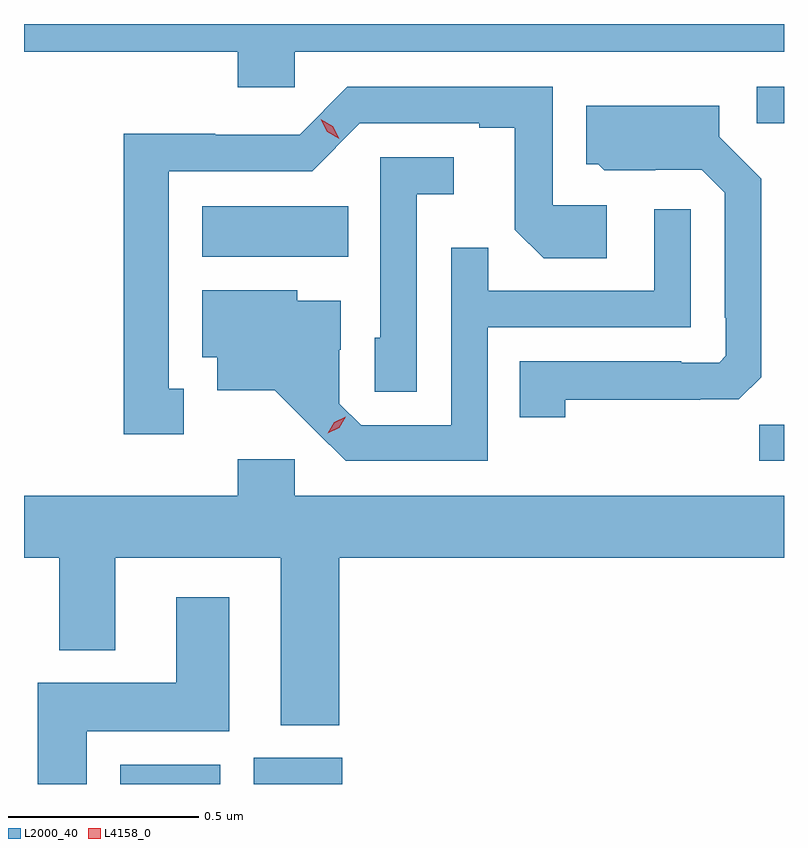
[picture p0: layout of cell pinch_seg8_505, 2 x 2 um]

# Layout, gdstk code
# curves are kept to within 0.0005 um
import gdstk
lib = gdstk.Library(unit=1e-6, precision=1e-09)
def R(c, l, rs):  # rectangles x0, y0, x1, y1
    for r in rs: c.add(gdstk.rectangle(r[:2], r[2:], *l))
def P(c, l, *ps):  # polygons
    for p in ps: c.add(gdstk.Polygon(p, *l))
L2000_40 = (2000, 40)
L4158_0 = (4158, 0)

pinch_seg8_505 = lib.new_cell('pinch_seg8_505')
R(pinch_seg8_505, L2000_40, [(219.962,1131.889,220.225,1131.94), (220.313,1131.889,220.546,1131.958), (221.644,1132.74,221.709,1132.835), (220.178,1133.276,220.562,1133.41), (221.637,1133.628,221.709,1133.724)])
P(pinch_seg8_505, L2000_40, [(220.422,1133.816),(221.709,1133.816),(221.709,1133.889),(219.709,1133.889),(219.709,1133.816),(220.271,1133.816),(220.271,1133.723),(220.422,1133.723)],
  [(220.129,1132.929),(220.09,1132.929),(220.09,1133.502),(220.467,1133.502),(220.593,1133.628),(220.907,1133.628),(220.907,1133.616),(221.001,1133.616),(221.001,1133.348),(221.077,1133.272),(221.242,1133.272),(221.242,1133.412),(221.1,1133.412),(221.1,1133.724),(220.56,1133.724),(220.434,1133.598),(220.212,1133.598),(220.212,1133.6),(219.972,1133.6),(219.972,1132.809),(220.129,1132.809)],
  [(221.133,1132.9),(221.489,1132.9),(221.489,1132.901),(221.59,1132.901),(221.649,1132.96),(221.649,1133.482),(221.539,1133.592),(221.539,1133.674),(221.189,1133.674),(221.189,1133.52),(221.22,1133.52),(221.236,1133.504),(221.37,1133.504),(221.37,1133.505),(221.493,1133.505),(221.553,1133.445),(221.553,1133.116),(221.556,1133.116),(221.556,1133.016),(221.538,1132.998),(221.438,1132.998),(221.438,1133.001),(221.014,1133.001),(221.014,1132.854),(221.133,1132.854)],
  [(220.743,1133.441),(220.84,1133.441),(220.84,1133.538),(220.647,1133.538),(220.647,1133.064),(220.632,1133.064),(220.632,1132.921),(220.743,1132.921)],
  [(220.929,1133.091),(221.463,1133.091),(221.463,1133.401),(221.367,1133.401),(221.367,1133.187),(220.931,1133.187),(220.931,1133.3),(220.833,1133.3),(220.833,1132.833),(220.596,1132.833),(220.539,1132.89),(220.539,1133.032),(220.543,1133.032),(220.543,1133.161),(220.428,1133.161),(220.428,1133.188),(220.178,1133.188),(220.178,1133.012),(220.217,1133.012),(220.217,1132.925),(220.369,1132.925),(220.556,1132.74),(220.929,1132.74)],
  [(220.538,1132.484),(221.709,1132.484),(221.709,1132.648),(220.422,1132.648),(220.422,1132.744),(220.271,1132.744),(220.271,1132.648),(219.709,1132.648),(219.709,1132.484),(219.802,1132.484),(219.802,1132.241),(219.949,1132.241),(219.949,1132.484),(220.385,1132.484),(220.385,1132.043),(220.538,1132.043)],
  [(219.874,1132.028),(220.249,1132.028),(220.249,1132.381),(220.109,1132.381),(220.109,1132.156),(219.745,1132.156),(219.745,1131.889),(219.874,1131.889)])
P(pinch_seg8_505, L4158_0, [(220.539,1133.587),(220.507,1133.606),(220.49,1133.639),(220.49,1133.639),(220.49,1133.639),(220.521,1133.62),(220.539,1133.587),(220.539,1133.587)],
  [(220.508,1132.812),(220.508,1132.812),(220.525,1132.841),(220.556,1132.856),(220.556,1132.856),(220.556,1132.856),(220.539,1132.826),(220.508,1132.812)])

lib.write_gds('pinch_seg8_505.gds')
